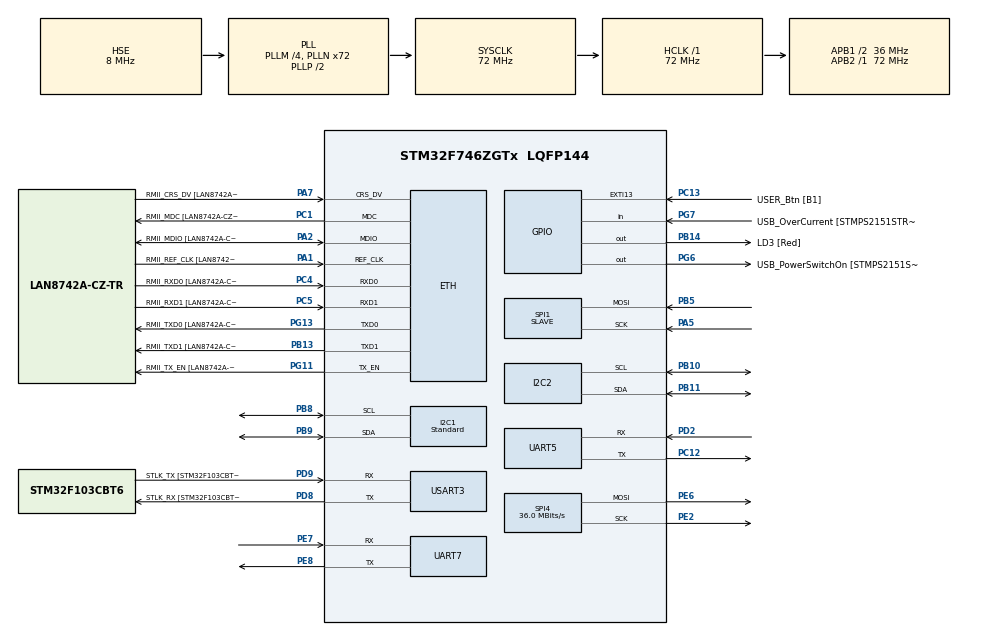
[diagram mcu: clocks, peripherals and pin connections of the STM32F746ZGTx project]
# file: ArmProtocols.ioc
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ETH.MACAddr=00\:80\:E1\:11\:22\:33
ETH.MediaInterface=ETH_MEDIA_INTERFACE_RMII
ETH.PHY_Name=LAN8742A_PHY_ADDRESS
ETH.PHY_Value=0
ETH.PhyAddress=0
I2C1.I2C_Speed_Mode=I2C_Standard
I2C1.OwnAddress=1
I2C1.Timing=0x00808CD2
I2C2.OwnAddress=2
I2C2.Timing=0x00808CD2
LWIP.GATEWAY_ADDRESS=169.254.022.245
LWIP.IP_ADDRESS=169.254.022.250
LWIP.LWIP_DHCP=0
LWIP.NETMASK_ADDRESS=255.255.255.000
LWIP.Version=v2.1.2_Cube
Mcu.Family=STM32F7
Mcu.Name=STM32F746ZGTx
Mcu.Package=LQFP144
NVIC.I2C1_EV_IRQn=true\:0\:0\:false\:false\:true\:true\:true
NVIC.I2C2_EV_IRQn=true\:0\:0\:false\:false\:true\:true\:true
NVIC.PriorityGroup=NVIC_PRIORITYGROUP_4
NVIC.SPI1_IRQn=true\:0\:0\:false\:false\:true\:true\:true
NVIC.SPI4_IRQn=true\:0\:0\:false\:false\:true\:true\:true
NVIC.TIM4_IRQn=true\:0\:0\:false\:false\:true\:true\:true
NVIC.UART5_IRQn=true\:0\:0\:false\:false\:true\:true\:true
NVIC.UART7_IRQn=true\:0\:0\:false\:false\:true\:true\:true
NVIC.USART3_IRQn=true\:0\:0\:false\:false\:true\:true\:true
PA1.GPIO_Label=RMII_REF_CLK [LAN8742A-CZ-TR_REFCLK0]
PA1.Mode=RMII
PA1.Signal=ETH_REF_CLK
PA10.GPIO_Label=USB_ID
PA10.Signal=USB_OTG_FS_ID
PA11.GPIO_Label=USB_DM
PA11.Signal=USB_OTG_FS_DM
PA12.GPIO_Label=USB_DP
PA12.Signal=USB_OTG_FS_DP
PA13.GPIO_Label=TMS
PA13.Mode=Serial_Wire
PA13.Signal=SYS_JTMS-SWDIO
PA14.GPIO_Label=TCK
PA14.Mode=Serial_Wire
PA14.Signal=SYS_JTCK-SWCLK
PA2.GPIO_Label=RMII_MDIO [LAN8742A-CZ-TR_MDIO]
PA2.Mode=RMII
PA2.Signal=ETH_MDIO
PA5.Mode=RX_Only_Simplex_Unidirect_Slave
PA5.Signal=SPI1_SCK
PA7.GPIO_Label=RMII_CRS_DV [LAN8742A-CZ-TR_CRS_DV]
PA7.Mode=RMII
PA7.Signal=ETH_CRS_DV
PA8.GPIO_Label=USB_SOF [TP1]
PA8.Signal=USB_OTG_FS_SOF
PA9.GPIO_Label=USB_VBUS
PA9.Signal=USB_OTG_FS_VBUS
PB0.Signal=ETH_RXD2
PB10.GPIO_Pu=GPIO_PULLUP
PB10.Mode=I2C
PB10.Signal=I2C2_SCL
PB11.GPIO_Pu=GPIO_PULLUP
PB11.Mode=I2C
PB11.Signal=I2C2_SDA
PB13.GPIO_Label=RMII_TXD1 [LAN8742A-CZ-TR_TXD1]
PB13.Mode=RMII
PB13.Signal=ETH_TXD1
PB14.GPIO_Label=LD3 [Red]
PB14.Signal=GPIO_Output
PB3.GPIO_Label=SW0
PB3.Signal=SYS_JTDO-SWO
PB5.Mode=RX_Only_Simplex_Unidirect_Slave
PB5.Signal=SPI1_MOSI
PB8.GPIO_Pu=GPIO_PULLUP
PB8.Mode=I2C
PB8.Signal=I2C1_SCL
PB9.GPIO_Pu=GPIO_PULLUP
PB9.Mode=I2C
PB9.Signal=I2C1_SDA
PC1.GPIO_Label=RMII_MDC [LAN8742A-CZ-TR_MDC]
PC1.Mode=RMII
PC1.Signal=ETH_MDC
PC12.Mode=Asynchronous
PC12.Signal=UART5_TX
PC13.GPIO_Label=USER_Btn [B1]
PC13.Signal=GPXTI13
PC14/OSC32_IN.Mode=LSE-External-Oscillator
PC14/OSC32_IN.Signal=RCC_OSC32_IN
PC15/OSC32_OUT.Mode=LSE-External-Oscillator
PC15/OSC32_OUT.Signal=RCC_OSC32_OUT
PC4.GPIO_Label=RMII_RXD0 [LAN8742A-CZ-TR_RXD0]
PC4.Mode=RMII
PC4.Signal=ETH_RXD0
PC5.GPIO_Label=RMII_RXD1 [LAN8742A-CZ-TR_RXD1]
PC5.Mode=RMII
PC5.Signal=ETH_RXD1
PD2.Mode=Asynchronous
PD2.Signal=UART5_RX
PD8.GPIO_Label=STLK_RX [STM32F103CBT6_PA3]
PD8.Mode=Asynchronous
PD8.Signal=USART3_TX
PD9.GPIO_Label=STLK_TX [STM32F103CBT6_PA2]
PD9.Mode=Asynchronous
PD9.Signal=USART3_RX
PE2.Mode=TX_Only_Simplex_Unidirect_Master
PE2.Signal=SPI4_SCK
PE6.Mode=TX_Only_Simplex_Unidirect_Master
PE6.Signal=SPI4_MOSI
PE7.Mode=Asynchronous
PE7.Signal=UART7_RX
PE8.Mode=Asynchronous
PE8.Signal=UART7_TX
PG11.GPIO_Label=RMII_TX_EN [LAN8742A-CZ-TR_TXEN]
PG11.Mode=RMII
PG11.Signal=ETH_TX_EN
PG13.GPIO_Label=RMII_TXD0 [LAN8742A-CZ-TR_TXD0]
PG13.Mode=RMII
PG13.Signal=ETH_TXD0
PG6.GPIO_Label=USB_PowerSwitchOn [STMPS2151STR_EN]
PG6.Signal=GPIO_Output
PG7.GPIO_Label=USB_OverCurrent [STMPS2151STR_FAULT]
PG7.Signal=GPIO_Input
PH0/OSC_IN.GPIO_Label=MCO [STM32F103CBT6_PA8]
PH0/OSC_IN.Mode=HSE-External-Clock-Source
PH0/OSC_IN.Signal=RCC_OSC_IN
PH1/OSC_OUT.Mode=HSE-External-Clock-Source
PH1/OSC_OUT.Signal=RCC_OSC_OUT
ProjectManager.HeapSize=0x200
ProjectManager.StackSize=0x400
ProjectManager.TargetToolchain=STM32CubeIDE
RCC.48MHZClocksFreq_Value=24000000
RCC.AHBFreq_Value=72000000
RCC.APB1CLKDivider=RCC_HCLK_DIV2
RCC.APB1Freq_Value=36000000
RCC.APB1TimFreq_Value=72000000
RCC.APB2Freq_Value=72000000
RCC.APB2TimFreq_Value=72000000
RCC.CortexFreq_Value=72000000
RCC.HCLKFreq_Value=72000000
RCC.HSE_VALUE=8000000
RCC.HSI_VALUE=16000000
RCC.PLLM=4
RCC.PLLMUL=RCC_PLL_MUL9
RCC.PLLN=72
RCC.PLLQ=3
RCC.PLLSourceVirtual=RCC_PLLSOURCE_HSE
RCC.PRESCALERUSB=RCC_USBCLKSOURCE_PLL_DIV1_5
RCC.SYSCLKFreq_VALUE=72000000
RCC.SYSCLKSource=RCC_SYSCLKSOURCE_PLLCLK
RCC.SYSCLKSourceVirtual=RCC_SYSCLKSOURCE_PLLCLK
RCC.USBFreq_Value=48000000
RCC.VCOOutputFreq_Value=144000000
SPI1.DataSize=SPI_DATASIZE_8BIT
SPI1.Direction=SPI_DIRECTION_2LINES_RXONLY
SPI1.Mode=SPI_MODE_SLAVE
SPI1.VirtualType=VM_SLAVE
SPI4.CalculateBaudRate=36.0 MBits/s
SPI4.DataSize=SPI_DATASIZE_8BIT
SPI4.Direction=SPI_DIRECTION_2LINES
SPI4.Mode=SPI_MODE_MASTER
SPI4.VirtualType=VM_MASTER
USART3.VirtualMode-Asynchronous=VM_ASYNC
VP_LWIP_VS_Enabled.Mode=Enabled
VP_TIM4_VS_ClockSourceINT.Mode=Internal
board=NUCLEO-F746ZG

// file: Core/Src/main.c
/* USER CODE BEGIN Header */
/**
  ******************************************************************************
  * @file           : main.c
  * @brief          : Main program body
  ******************************************************************************
  * @attention
  *
  * <h2><center>&copy; Copyright (c) 2021 STMicroelectronics.
  * All rights reserved.</center></h2>
  *
  * This software component is licensed by ST under BSD 3-Clause license,
  * the "License"; You may not use this file except in compliance with the
  * License. You may obtain a copy of the License at:
  *                        opensource.org/licenses/BSD-3-Clause
  *
  ******************************************************************************
  */
/* USER CODE END Header */
#include "main.h"
#include "i2c.h"
#include "lwip.h"
#include "spi.h"
#include "tim.h"
#include "usart.h"
#include "gpio.h"

/* USER CODE BEGIN Includes */
#include <stdio.h>
#include <string.h>
#include "lwip/udp.h"
/* USER CODE END Includes */

/* USER CODE BEGIN PTD */
#define BUFFER_SIZE 50
/* USER CODE END PTD */

/* USER CODE BEGIN PD */

#ifdef __GNUC__
/* With GCC/RAISONANCE, small printf (option LD Linker->Libraries->Small printf set to 'Yes') calls __io_putchar() */
#define PUTCHAR_PROTOTYPE int __io_putchar(int ch)

#else

#define PUTCHAR_PROTOTYPE int fputc(int ch, FILE *f)

#endif /* __GNUC__ */

PUTCHAR_PROTOTYPE {
	/* Place your implementation of fputc here */
	/* e.g. write a character to the USART2 and Loop until the end of transmission */
	HAL_UART_Transmit(&huart3, (uint8_t *)&ch, 1, 0xFFFF);
	return ch;
}

/* USER CODE END PD */

void SystemClock_Config(void);
/* USER CODE BEGIN PFP */
void udp_rx_callback(void *arg, struct udp_pcb *upcb, struct pbuf *p, ip_addr_t *addr, u16_t port);

void setup_protocols(int protocol, uint8_t* uart_buff, uint8_t* i2c_buff, uint8_t* spi_buff, int size);

void send_data(int protocol, uint8_t* buffer);

void transmit_payload(int protocol, uint8_t* payload, size_t len);

/* USER CODE END PFP */

/* USER CODE BEGIN 0 */

uint8_t timer_elapsed = 0;
uint8_t i2c_full = 0;
uint8_t spi_full = 0;
uint8_t uart_full = 0;

uint8_t buffers[3];

const int server_port = 10;
extern struct netif gnetif; // my addr
struct udp_pcb* server_sock = NULL;

ip_addr_t sender_addr;
u16_t sender_port = 0;
int socket_collected = 0;
char socket_data[255] = {0};
uint8_t last_buffer[BUFFER_SIZE] = {0};
/* USER CODE END 0 */

int main(void)
{

  /* MCU Configuration--------------------------------------------------------*/

  /* Reset of all peripherals, Initializes the Flash interface and the Systick. */
  HAL_Init();

  /* Configure the system clock */
  SystemClock_Config();

  /* Initialize all configured peripherals */
  MX_GPIO_Init();
  MX_USART3_UART_Init();
  MX_I2C1_Init();
  MX_I2C2_Init();
  MX_SPI4_Init();
  MX_SPI1_Init();
  MX_LWIP_Init();
  MX_UART5_Init();
  MX_UART7_Init();
  MX_TIM4_Init();
  /* USER CODE BEGIN 2 */
  HAL_TIM_Base_Start_IT(&htim4);

	uint8_t uart_buff[BUFFER_SIZE] = {0};
	uint8_t i2c_buff[BUFFER_SIZE] = {0};
	uint8_t spi_buff[BUFFER_SIZE] = {0};

	server_sock = udp_new();
	udp_bind(server_sock, &gnetif.ip_addr, server_port);
	udp_recv(server_sock, (udp_recv_fn) udp_rx_callback, NULL);

	uint8_t* payload = NULL;
	int protocol = -1;
	size_t len = 0;

	//  test code
	//  size_t len = 8;
	//	uint8_t* payload = malloc(sizeof(uint8_t) * (len + 1));
	//	memset(payload, '\0', (len + 1));
	//	memcpy(payload, "Payload1", len);
	//	int protocol = 1;
	//	setup_protocols(protocol, uart_buff, i2c_buff, spi_buff, len);
  /* USER CODE END 2 */

  /* Infinite loop */
  /* USER CODE BEGIN WHILE */
	const int timer_half_period = htim4.Init.Period / 2;
  while (1) {
	  // set ARP table for MAC addresses
	  ethernetif_input(&gnetif);
	  // printf("ip: %s\n\r", ip4addr_ntoa(&gnetif.ip_addr));

	  if(socket_collected) {
		  // fill buffers to allow drop
		  transmit_payload(protocol, payload, len);

		  printf("sender ip: %s:%d, data: %s\n\r", ip4addr_ntoa(&sender_addr), sender_port, socket_data);

		  char* separator_idx = strstr(socket_data, ",");
		  socket_data[separator_idx - socket_data] = '\0';
		  protocol = atoi(socket_data);

		  const char* data = &socket_data[(separator_idx - socket_data) + 1];
		  const int prev_len = len;
		  len = strlen(data);
		  const int payload_size = sizeof(uint8_t) * (len + 1);
		  if (payload == NULL) {
			  payload = malloc(payload_size);
		  } else if (len != prev_len) {
			  payload = realloc(payload, payload_size);
		  }
		  memset(payload, '\0', len + 1);
		  memcpy(payload, data, len);
		  setup_protocols(protocol, uart_buff, i2c_buff, spi_buff, len);
		  socket_collected = 0;
	  }

	  if (htim4.Instance -> CNT % timer_half_period == 0 && payload != NULL) {
		  transmit_payload(protocol, payload, len);
	  }

	  if (uart_full || i2c_full || spi_full) {
		  setup_protocols(protocol, uart_buff, i2c_buff, spi_buff, len);
		  uart_full = 0;
		  i2c_full = 0;
		  spi_full = 0;
	  }
	  if (timer_elapsed) {
		  // printf("timer %d\n\r", counter);
		  timer_elapsed = 0;
		  send_data(protocol, last_buffer);
	  }
    /* USER CODE END WHILE */

  }
}

void SystemClock_Config(void)
{
  RCC_OscInitTypeDef RCC_OscInitStruct = {0};
  RCC_ClkInitTypeDef RCC_ClkInitStruct = {0};
  RCC_PeriphCLKInitTypeDef PeriphClkInitStruct = {0};

  /** Configure LSE Drive Capability
  */
  HAL_PWR_EnableBkUpAccess();
  /** Configure the main internal regulator output voltage
  */
  __HAL_RCC_PWR_CLK_ENABLE();
  __HAL_PWR_VOLTAGESCALING_CONFIG(PWR_REGULATOR_VOLTAGE_SCALE3);
  /** Initializes the RCC Oscillators according to the specified parameters
  * in the RCC_OscInitTypeDef structure.
  */
  RCC_OscInitStruct.OscillatorType = RCC_OSCILLATORTYPE_HSE;
  RCC_OscInitStruct.HSEState = RCC_HSE_BYPASS;
  RCC_OscInitStruct.PLL.PLLState = RCC_PLL_ON;
  RCC_OscInitStruct.PLL.PLLSource = RCC_PLLSOURCE_HSE;
  RCC_OscInitStruct.PLL.PLLM = 4;
  RCC_OscInitStruct.PLL.PLLN = 72;
  RCC_OscInitStruct.PLL.PLLP = RCC_PLLP_DIV2;
  RCC_OscInitStruct.PLL.PLLQ = 3;
  if (HAL_RCC_OscConfig(&RCC_OscInitStruct) != HAL_OK)
  {
    Error_Handler();
  }
  /** Initializes the CPU, AHB and APB buses clocks
  */
  RCC_ClkInitStruct.ClockType = RCC_CLOCKTYPE_HCLK|RCC_CLOCKTYPE_SYSCLK
                              |RCC_CLOCKTYPE_PCLK1|RCC_CLOCKTYPE_PCLK2;
  RCC_ClkInitStruct.SYSCLKSource = RCC_SYSCLKSOURCE_PLLCLK;
  RCC_ClkInitStruct.AHBCLKDivider = RCC_SYSCLK_DIV1;
  RCC_ClkInitStruct.APB1CLKDivider = RCC_HCLK_DIV2;
  RCC_ClkInitStruct.APB2CLKDivider = RCC_HCLK_DIV1;

  if (HAL_RCC_ClockConfig(&RCC_ClkInitStruct, FLASH_LATENCY_2) != HAL_OK)
  {
    Error_Handler();
  }
  PeriphClkInitStruct.PeriphClockSelection = RCC_PERIPHCLK_USART3|RCC_PERIPHCLK_UART5
                              |RCC_PERIPHCLK_UART7|RCC_PERIPHCLK_I2C1
                              |RCC_PERIPHCLK_I2C2;
  PeriphClkInitStruct.Usart3ClockSelection = RCC_USART3CLKSOURCE_PCLK1;
  PeriphClkInitStruct.Uart5ClockSelection = RCC_UART5CLKSOURCE_PCLK1;
  PeriphClkInitStruct.Uart7ClockSelection = RCC_UART7CLKSOURCE_PCLK1;
  PeriphClkInitStruct.I2c1ClockSelection = RCC_I2C1CLKSOURCE_PCLK1;
  PeriphClkInitStruct.I2c2ClockSelection = RCC_I2C2CLKSOURCE_PCLK1;
  if (HAL_RCCEx_PeriphCLKConfig(&PeriphClkInitStruct) != HAL_OK)
  {
    Error_Handler();
  }
}

/* USER CODE BEGIN 4 */

void transmit_payload(int protocol, uint8_t* payload, size_t len){
	if (protocol > 0) {
	  if (protocol == 1) {
		  HAL_UART_Transmit(&huart7, payload, len, 100);
	  } else if (protocol == 2) {
		  HAL_I2C_Master_Transmit(&hi2c1, 4, payload, len, 100);
	  } else if (protocol == 3) {
		  HAL_SPI_Transmit(&hspi4, payload, len, 100);
	  }
	}
}

void resotre_buffer(uint8_t* buffer, int size) {
	memset(last_buffer, '\0', BUFFER_SIZE);
	memcpy(last_buffer, buffer, size);
	memset(buffer, 0, BUFFER_SIZE);
}

void setup_protocols(
	int protocol, uint8_t* uart_buff, uint8_t* i2c_buff, uint8_t* spi_buff, int size
) {
	if (protocol == 1) {
		if (strlen((char*) uart_buff)) {
			printf("Uart: [%s]\n\r", uart_buff);
		}
		resotre_buffer(uart_buff, size);
		HAL_UART_Receive_IT(&huart5, uart_buff, size);
		// UART_Start_Receive_IT(&huart2, buff, 10);
	} else if (protocol == 2) {
		if (strlen((char*) i2c_buff)) {
			printf("I2C: [%s]\n\r", i2c_buff);
		}
		resotre_buffer(i2c_buff, size);
		HAL_I2C_Slave_Receive_IT(&hi2c2, i2c_buff, size);
	} else if (protocol == 3) {
		if (strlen((char*) spi_buff)) {
			printf("SPI: [%s]\n\r", spi_buff);
		}
		resotre_buffer(spi_buff, size);
		HAL_SPI_Receive_IT(&hspi1, spi_buff, size);
	}
}

void send_data(int protocol, uint8_t* buffer) {
	if (protocol != 1 && protocol != 2 && protocol != 3) {
		// printf("No protocol specified\n\r");
		return;
	}
	size_t size = strlen((char*) buffer);
	if (!size) {
		// printf("Nothing to send\n\r");
		return;
	}
	err_t is_connected = udp_connect(server_sock, &sender_addr, sender_port);
	if (is_connected == ERR_OK) {
	  struct pbuf* udp_buffer = pbuf_alloc(PBUF_TRANSPORT, size + 2, PBUF_RAM);
	  if (udp_buffer != NULL) {
		  memset(udp_buffer -> payload, '\0', size);
		  memset(udp_buffer -> payload, protocol + '0', 1);
		  memcpy(udp_buffer -> payload + 1, ",", 1);
		  memcpy(udp_buffer -> payload + 2, buffer, size);
		  if (udp_send(server_sock, udp_buffer)) {
			  printf("Send failed\n\r");
		  }
		  pbuf_free(udp_buffer);
	  }
	  udp_disconnect(server_sock);
	}
}

/**
  * @brief This function is called when an UDP datagram has been received on the port UDP_PORT.
  * @param arg user supplied argument (udp_pcb.recv_arg)
  * @param pcb the udp_pcb which received data
  * @param p the packet buffer that was received
  * @param addr the remote IP address from which the packet was received
  * @param port the remote port from which the packet was received
  * @retval None
  */
void udp_rx_callback(void *arg, struct udp_pcb *upcb, struct pbuf *p, ip_addr_t *addr, u16_t port) {
	sender_addr = *addr;
	sender_port = port;
	memset(socket_data, 0, sizeof(socket_data));
	memcpy(socket_data, p -> payload, p -> len);
	socket_collected = 1;
	pbuf_free(p);
}

void HAL_TIM_PeriodElapsedCallback(TIM_HandleTypeDef* htim) {
	if (htim -> Instance == TIM4) {
		timer_elapsed = 1;
	} else {
		UNUSED(htim);
	}
}

void HAL_SPI_RxCpltCallback(SPI_HandleTypeDef *hspi)
{
	if (hspi -> Instance == SPI1) {
		spi_full = 1;
	} else {
		UNUSED(hspi);
	}
}

/**
 * This function allows to reset following callbacks:
       (+) MasterTxCpltCallback : callback for Master transmission end of transfer.
       (+) MasterRxCpltCallback : callback for Master reception end of transfer.
       (+) SlaveTxCpltCallback  : callback for Slave transmission end of transfer.
       (+) SlaveRxCpltCallback  : callback for Slave reception end of transfer.
       (+) ListenCpltCallback   : callback for end of listen mode.
       (+) MemTxCpltCallback    : callback for Memory transmission end of transfer.
       (+) MemRxCpltCallback    : callback for Memory reception end of transfer.
       (+) ErrorCallback        : callback for error detection.
       (+) AbortCpltCallback    : callback for abort completion process.
       (+) MspInitCallback      : callback for Msp Init.
       (+) MspDeInitCallback    : callback for Msp DeInit.
 */
void HAL_I2C_SlaveRxCpltCallback(I2C_HandleTypeDef *hi2c) {
	if (hi2c -> Instance == I2C2) {
		i2c_full = 1;
	} else {
		UNUSED(hi2c);
	}
}

/*
(+) TxHalfCpltCallback        : Tx Half Complete Callback.
(+) TxCpltCallback            : Tx Complete Callback.
(+) RxHalfCpltCallback        : Rx Half Complete Callback.
(+) RxCpltCallback            : Rx Complete Callback.
(+) ErrorCallback             : Error Callback.
(+) AbortCpltCallback         : Abort Complete Callback.
(+) AbortTransmitCpltCallback : Abort Transmit Complete Callback.
(+) AbortReceiveCpltCallback  : Abort Receive Complete Callback.
(+) WakeupCallback            : Wakeup Callback.
(+) RxFifoFullCallback        : Rx Fifo Full Callback.
(+) TxFifoEmptyCallback       : Tx Fifo Empty Callback.
(+) MspInitCallback           : UART MspInit.
(+) MspDeInitCallback         : UART MspDeInit.
*/
void HAL_UART_RxCpltCallback(UART_HandleTypeDef *huart) {
	if (huart -> Instance == UART5) {
		uart_full = 1;
	} else {
		UNUSED(huart);
	}
}

/* USER CODE END 4 */

void Error_Handler(void)
{
  __disable_irq();
  while (1)
  {
  }
}

/************************ (C) COPYRIGHT STMicroelectronics *****END OF FILE****/
